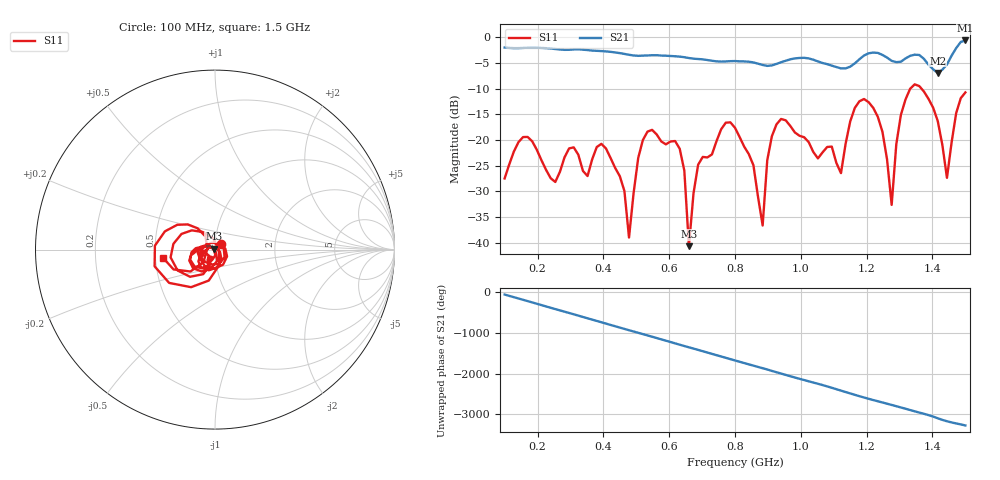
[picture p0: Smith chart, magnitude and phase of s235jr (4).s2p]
! NanoVNA-App
! Date: 2025-09-25 15:04:11
! Start: 100MHz Stop: 1,5GHz Points: 101
! S-Parameter data: F S11 S21 S12 S22
# Hz S RI R 50
!  Frequency  S11_Real  S11_Imag  S21_Real  S21_Imag  S12_Real  S12_Imag  S22_Real  S22_Imag
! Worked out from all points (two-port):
!   101 points, 100 MHz to 1.5 GHz, reference 50 ohm
!   highest |S21| = -0.59 dB at 1.5 GHz (marker M1); lowest = -6.9 dB at 1.416 GHz (marker M2)
!   |S21| within 3 dB of the highest: start of sweep to 597.2 MHz; 1.191 GHz to 1.253 GHz (62.18 MHz wide, 5.09 % of centre) (the widest 2 of 4)
!   lowest |S11| = -40.7 dB at 660 MHz (marker M3), VSWR 1.02, Z = 49.3 + j0.549 ohm
!   |S11| at or under -10 dB: start of sweep to 1.332 GHz; 1.367 GHz to end of sweep
!   S12 and S22 are empty: the file has one direction only
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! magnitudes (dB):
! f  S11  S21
! 100 MHz  -27.5  -2.0
! 156 MHz  -19.4  -2.0
! 338 MHz  -26.0  -2.4
! 408 MHz  -21.6  -2.7
! 478 MHz  -39.0  -3.4
! 520 MHz  -20.0  -3.5
! 576 MHz  -20.3  -3.5
! 632 MHz  -21.7  -3.7
! 660 MHz  -40.7  -4.0
! 688 MHz  -24.8  -4.2
! 800 MHz  -17.6  -4.6
! 884 MHz  -36.7  -5.4
! 926 MHz  -16.9  -5.2
! 1.038 GHz  -22.3  -4.3
! 1.122 GHz  -26.4  -6.0
! 1.192 GHz  -12.0  -3.5
! 1.248 GHz  -18.4  -3.4
! 1.276 GHz  -32.6  -4.6
! 1.332 GHz  -10.0  -3.6
! 1.416 GHz  -16.3  -6.9
! 1.444 GHz  -27.4  -5.3
! 1.5 GHz  -10.7  -0.6
